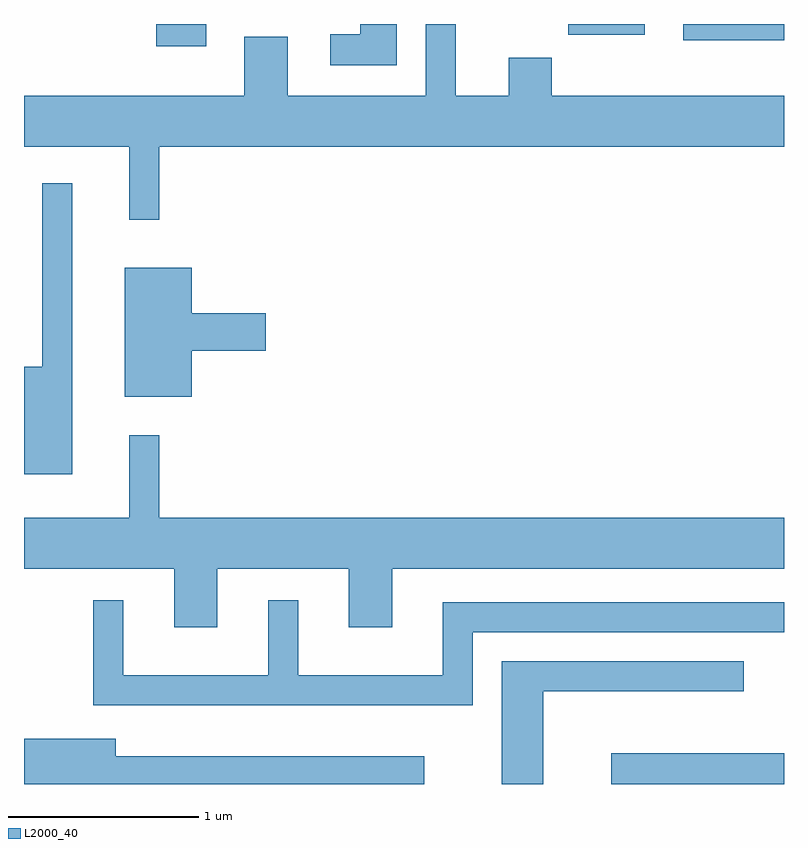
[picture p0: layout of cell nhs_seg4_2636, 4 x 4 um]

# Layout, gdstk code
import gdstk
lib = gdstk.Library(unit=1e-6, precision=1e-09)
def R(c, l, rs):  # rectangles x0, y0, x1, y1
    for r in rs: c.add(gdstk.rectangle(r[:2], r[2:], *l))
def P(c, l, *ps):  # polygons
    for p in ps: c.add(gdstk.Polygon(p, *l))
L2000_40 = (2000, 40)

nhs_seg4_2636 = lib.new_cell('nhs_seg4_2636')
R(nhs_seg4_2636, L2000_40, [(264.701,1357.982,265.611,1358.144), (262.306,1361.866,262.569,1361.982), (265.081,1361.896,265.611,1361.982), (264.476,1361.926,264.879,1361.982)])
P(nhs_seg4_2636, L2000_40, [(262.324,1361.336),(265.611,1361.336),(265.611,1361.604),(264.389,1361.604),(264.389,1361.804),(264.161,1361.804),(264.161,1361.604),(263.884,1361.604),(263.884,1361.982),(263.726,1361.982),(263.726,1361.604),(262.999,1361.604),(262.999,1361.914),(262.771,1361.914),(262.771,1361.604),(261.611,1361.604),(261.611,1361.336),(262.166,1361.336),(262.166,1360.953),(262.324,1360.953)],
  [(263.574,1361.982),(263.381,1361.982),(263.381,1361.929),(263.223,1361.929),(263.223,1361.766),(263.574,1361.766)],
  [(261.864,1361.143),(261.706,1361.143),(261.706,1360.179),(261.611,1360.179),(261.611,1359.611),(261.864,1359.611)],
  [(262.494,1360.261),(262.884,1360.261),(262.884,1360.459),(262.494,1360.459),(262.494,1360.699),(262.141,1360.699),(262.141,1360.021),(262.494,1360.021)],
  [(262.629,1359.116),(263.321,1359.116),(263.321,1358.806),(263.549,1358.806),(263.549,1359.116),(265.611,1359.116),(265.611,1359.384),(262.324,1359.384),(262.324,1359.818),(262.166,1359.818),(262.166,1359.384),(261.611,1359.384),(261.611,1359.116),(262.401,1359.116),(262.401,1358.806),(262.629,1358.806)],
  [(263.974,1358.781),(265.611,1358.781),(265.611,1358.939),(263.816,1358.939),(263.816,1358.554),(263.054,1358.554),(263.054,1358.948),(262.896,1358.948),(262.896,1358.554),(262.134,1358.554),(262.134,1358.948),(261.976,1358.948),(261.976,1358.396),(263.974,1358.396)],
  [(264.344,1358.471),(265.398,1358.471),(265.398,1358.629),(264.126,1358.629),(264.126,1357.982),(264.344,1357.982)],
  [(263.718,1358.129),(262.094,1358.129),(262.094,1358.219),(261.611,1358.219),(261.611,1357.982),(263.718,1357.982)])

lib.write_gds('nhs_seg4_2636.gds')
